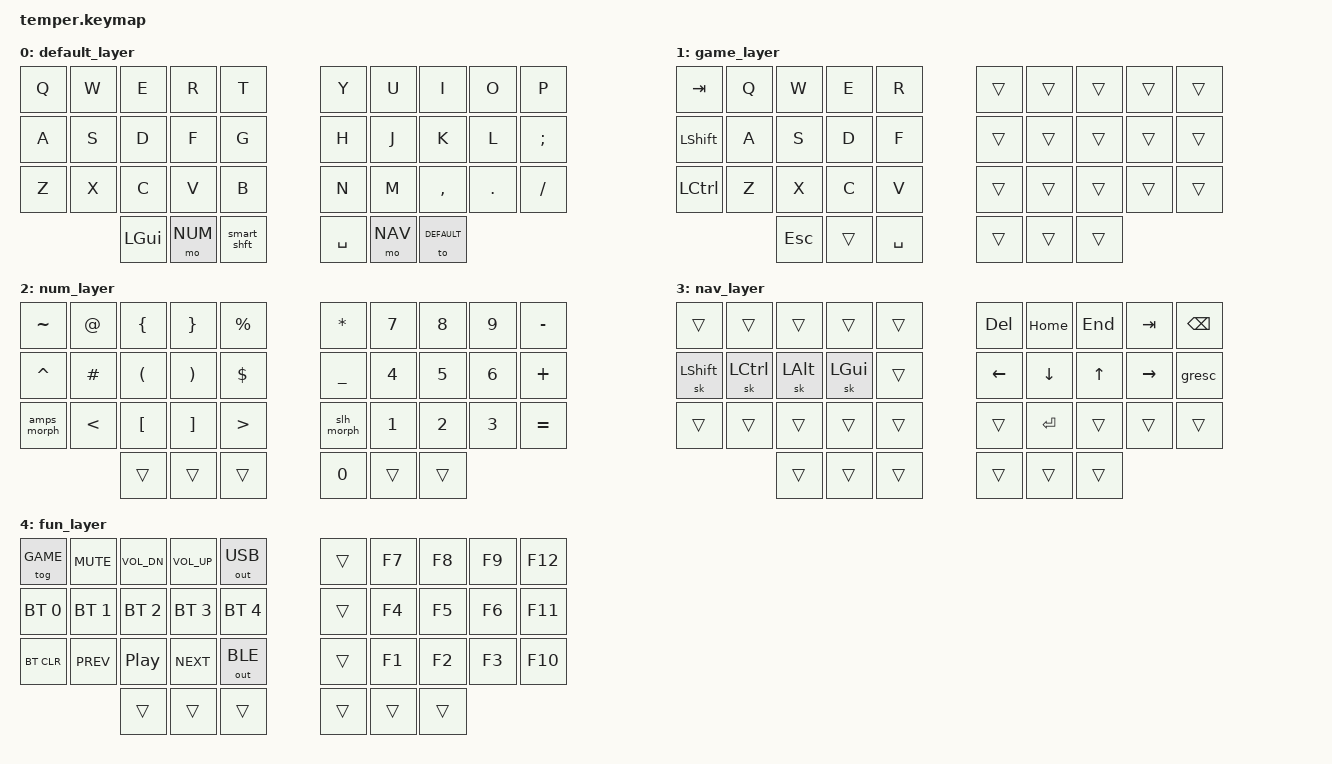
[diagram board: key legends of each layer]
/*
 * Copyright (c) 2020 The ZMK Contributors
 *
 * SPDX-License-Identifier: MIT
 */

#include <behaviors.dtsi>
#include <dt-bindings/zmk/keys.h>
#include <dt-bindings/zmk/bt.h>
#include <dt-bindings/zmk/outputs.h>
#include <dt-bindings/zmk/modifiers.h> // Added for MOD_LSFT, MOD_RSFT, etc.
#include <dt-bindings/zmk/hid_usage.h> // Added for CAPSWORD

#define DEFAULT 0
#define GAME 1
#define NUM 2
#define NAV 3
#define FUN 4

#define _______ &trans // Changed from '______' for consistency and readability

/ {
    conditional_layers {
        compatible = "zmk,conditional-layers";
        tri_layer {
            if-layers = <NUM NAV>;
            then-layer = <FUN>;
        };
    };

    behaviors {
        bspc_del: backspace_delete {
            compatible = "zmk,behavior-mod-morph";
            #binding-cells = <0>;
            bindings = <&kp BACKSPACE>, <&kp DELETE>;
            mods = <(MOD_LSFT|MOD_RSFT)>;
            // Removed 'keep-mods = <(MOD_RSFT)>;' as it's typically not needed
            // for a simple Shift + Backspace = Delete functionality and can be confusing.
            // If you specifically need RShift to be kept active during the DELETE,
            // then you would re-add it.
        };

        super_bspc: super_backspace {
            compatible = "zmk,behavior-mod-morph";
            #binding-cells = <0>;
            bindings = <&kp BACKSPACE>, <&kp LA(BACKSPACE)>;
            mods = <(MOD_LSFT|MOD_RSFT)>;
            // This behavior will trigger 'Left Alt + Backspace' when either
            // Left Shift or Right Shift is held along with the key.
            // Remember that 'LA()' refers to Left Alt. If you intended for
            // a different modifier (e.g., Left GUI/Windows key, or Left Control)
            // for a "Super Backspace" function (like deleting a word), adjust 'mods'
            // accordingly (e.g., MOD_LGUI, MOD_LCTRL).
        };

        smart_shft: smart_shift {
            compatible = "zmk,behavior-mod-morph";
            #binding-cells = <0>;
            bindings = <&kp LSHFT>, <&caps_word>;
            mods = <(MOD_LSFT)>;
            // Current behavior: If LSHFT is pressed *by itself*, it sends LSHFT.
            // If LSHFT is pressed *along with any other modifier* (e.g., LSHFT + LCTRL),
            // then it will activate &caps_word.
            //
            // For a "Smart Shift" that activates Caps Word on hold and sends Shift on tap,
            // a 'zmk,behavior-hold-tap' is generally more intuitive.
            // Example of a hold-tap smart shift (if you prefer this):
            // smart_shft: smart_shift {
            //     compatible = "zmk,behavior-hold-tap";
            //     #binding-cells = <2>;
            //     tapping-term-ms = <200>; // Adjust tap-hold delay as needed
            //     global-binding = <&kp LSHFT>, <&caps_word>;
            // };
            // In the keymap, you would then use: `&smart_shft LSHFT CAPS_WORD`
        };

        // These mod-morphs for symbols are well-defined and useful.
        comma_semi: comma_semi {
            compatible = "zmk,behavior-mod-morph";
            #binding-cells = <0>;
            bindings = <&kp COMMA>, <&kp SEMI>;
            mods = <(MOD_LSFT)>;
        };
        dot_colon: dot_colon {
            compatible = "zmk,behavior-mod-morph";
            #binding-cells = <0>;
            bindings = <&kp DOT>, <&kp COLON>;
            mods = <(MOD_LSFT)>;
        };
        qmrk_excl: qmrk_excl {
            compatible = "zmk,behavior-mod-morph";
            #binding-cells = <0>;
            bindings = <&kp QMARK>, <&kp EXCL>;
            mods = <(MOD_LSFT)>;
        };
        slh_morph: slh_morph {
            compatible = "zmk,behavior-mod-morph";
            #binding-cells = <0>;
            bindings = <&kp FSLH>, <&kp BSLH>;
            mods = <(MOD_LSFT)>;
        };
        amps_morph: amps_morph {
            compatible = "zmk,behavior-mod-morph";
            #binding-cells = <0>;
            bindings = <&kp AMPS>, <&kp PIPE>;
            mods = <(MOD_LSFT)>;
        };
    };

    keymap {
        compatible = "zmk,keymap";

        default_layer {
            bindings = <
// ╭─────────────┬─────────────┬─────────────┬─────────────┬─────────────╮     ╭─────────────┬─────────────┬─────────────┬─────────────┬─────────────╮
    &kp Q           &kp W           &kp E           &kp R           &kp T                 &kp Y           &kp U           &kp I           &kp O           &kp P
// ├─────────────┼─────────────┼─────────────┼─────────────┼─────────────┤     ├─────────────┼─────────────┼─────────────┼─────────────┼─────────────┤
    &kp A           &kp S           &kp D           &kp F           &kp G                 &kp H           &kp J           &kp K           &kp L           &kp SEMI
// ├─────────────┼─────────────┼─────────────┼─────────────┼─────────────┤     ├─────────────┼─────────────┼─────────────┼─────────────┼─────────────┤
    &kp Z           &kp X           &kp C           &kp V           &kp B                 &kp N           &kp M           &kp COMMA       &kp DOT         &kp FSLH
// ╰─────────────┴─────────────┼─────────────┼─────────────┼─────────────┤     ├─────────────┼─────────────┼─────────────┼─────────────┴─────────────╯
                                  &kp LGUI        &mo NUM         &smart_shft           &kp SPACE       &mo NAV         &to DEFAULT
//                                ╰─────────────┴─────────────┴─────────────╯     ╰─────────────┴─────────────┴─────────────╯
            >;
        };

        game_layer {
            bindings = <
// ╭─────────────┬─────────────┬─────────────┬─────────────┬─────────────╮     ╭─────────────┬─────────────┬─────────────┬─────────────┬─────────────╮
    &kp TAB         &kp Q           &kp W           &kp E           &kp R                 _______         _______         _______         _______         _______
// ├─────────────┼─────────────┼─────────────┼─────────────┼─────────────┤     ├─────────────┼─────────────┼─────────────┼─────────────┼─────────────┤
    &kp LSHFT       &kp A           &kp S           &kp D           &kp F                 _______         _______         _______         _______         _______
// ├─────────────┼─────────────┼─────────────┼─────────────┼─────────────┤     ├─────────────┼─────────────┼─────────────┼─────────────┼─────────────┤
    &kp LCTRL       &kp Z           &kp X           &kp C           &kp V                 _______         _______         _______         _______         _______
// ╰─────────────┴─────────────┼─────────────┼─────────────┼─────────────┤     ├─────────────┼─────────────┼─────────────┼─────────────┴─────────────╯
                                  &kp ESC         _______         &kp SPACE             _______         _______         _______
//                                ╰─────────────┴─────────────┴─────────────╯     ╰─────────────┴─────────────┴─────────────╯
            >;
        };

        num_layer {
            bindings = <
// ╭─────────────┬─────────────┬─────────────┬─────────────┬─────────────╮     ╭─────────────┬─────────────┬─────────────┬─────────────┬─────────────╮
    &kp TILDE       &kp AT          &kp LBRC        &kp RBRC        &kp PRCNT             &kp STAR        &kp N7          &kp N8          &kp N9          &kp MINUS
// ├─────────────┼─────────────┼─────────────┼─────────────┼─────────────┤     ├─────────────┼─────────────┼─────────────┼─────────────┼─────────────┤
    &kp CARET       &kp HASH        &kp LPAR        &kp RPAR        &kp DLLR              &kp UNDER       &kp N4          &kp N5          &kp N6          &kp PLUS
// ├─────────────┼─────────────┼─────────────┼─────────────┼─────────────┤     ├─────────────┼─────────────┼─────────────┼─────────────┼─────────────┤
    &amps_morph     &kp LT          &kp LBKT        &kp RBKT        &kp GT                &slh_morph      &kp N1          &kp N2          &kp N3          &kp EQUAL
// ╰─────────────┴─────────────┼─────────────┼─────────────┼─────────────┤     ├─────────────┼─────────────┼─────────────┼─────────────┴─────────────╯
                                  _______         _______         _______               &kp N0          _______         _______
//                                ╰─────────────┴─────────────┴─────────────╯     ╰─────────────┴─────────────┴─────────────╯
            >;
        };

        nav_layer {
            bindings = <
// ╭─────────────┬─────────────┬─────────────┬─────────────┬─────────────╮     ╭─────────────┬─────────────┬─────────────┬─────────────┬─────────────╮
    _______         _______         _______         _______         _______               &kp DEL         &kp HOME        &kp END         &kp TAB         &kp BSPC
// ├─────────────┼─────────────┼─────────────┼─────────────┼─────────────┤     ├─────────────┼─────────────┼─────────────┼─────────────┼─────────────┤
    &sk LSHFT       &sk LCTRL       &sk LALT        &sk LGUI        _______               &kp LEFT        &kp DOWN        &kp UP          &kp RIGHT       &gresc
// ├─────────────┼─────────────┼─────────────┼─────────────┼─────────────┤     ├─────────────┼─────────────┼─────────────┼─────────────┼─────────────┤
    _______         _______         _______         _______         _______               _______         &kp RET         _______         _______         _______
// ╰─────────────┴─────────────┼─────────────┼─────────────┼─────────────┤     ├─────────────┼─────────────┼─────────────┼─────────────┴─────────────╯
                                  _______         _______         _______               _______         _______         _______
//                                ╰─────────────┴─────────────┴─────────────╯     ╰─────────────┴─────────────┴─────────────╯
            >;
        };

        fun_layer {
            bindings = <
// ╭─────────────┬─────────────┬─────────────┬─────────────┬─────────────╮     ╭─────────────┬─────────────┬─────────────┬─────────────┬─────────────╮
    &tog GAME       &kp K_MUTE      &kp C_VOL_DN    &kp C_VOL_UP    &out OUT_USB          _______         &kp F7          &kp F8          &kp F9          &kp F12
// ├─────────────┼─────────────┼─────────────┼─────────────┼─────────────┤     ├─────────────┼─────────────┼─────────────┼─────────────┼─────────────┤
    &bt BT_SEL 0    &bt BT_SEL 1    &bt BT_SEL 2    &bt BT_SEL 3    &bt BT_SEL 4          _______         &kp F4          &kp F5          &kp F6          &kp F11
// ├─────────────┼─────────────┼─────────────┼─────────────┼─────────────┤     ├─────────────┼─────────────┼─────────────┼─────────────┼─────────────┤
    &bt BT_CLR      &kp C_PREV      &kp C_PP        &kp C_NEXT      &out OUT_BLE          _______         &kp F1          &kp F2          &kp F3          &kp F10
// ╰─────────────┴─────────────┼─────────────┼─────────────┼─────────────┤     ├─────────────┼─────────────┼─────────────┼─────────────┴─────────────╯
                                  _______         _______         _______               _______         _______         _______
//                                ╰─────────────┴─────────────┴─────────────╯     ╰─────────────┴─────────────┴─────────────╯
            >;
        };
    };
};

